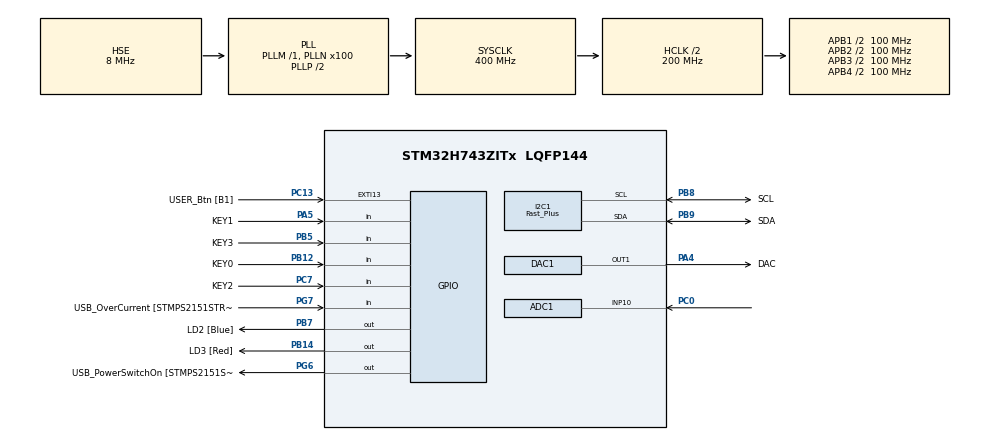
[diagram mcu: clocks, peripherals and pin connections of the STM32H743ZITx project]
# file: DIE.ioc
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ADC1.Channel-0\#ChannelRegularConversion=ADC_CHANNEL_10
ADC1.ClockPrescaler=ADC_CLOCK_ASYNC_DIV8
ADC1.ContinuousConvMode=ENABLE
ADC1.ConversionDataManagement=ADC_CONVERSIONDATA_DMA_CIRCULAR
ADC1.NbrOfConversionFlag=1
ADC1.OffsetNumber-0\#ChannelRegularConversion=ADC_OFFSET_NONE
ADC1.Overrun=ADC_OVR_DATA_OVERWRITTEN
ADC1.Rank-0\#ChannelRegularConversion=1
ADC1.SamplingTime-0\#ChannelRegularConversion=ADC_SAMPLETIME_1CYCLE_5
ADC1.master=1
DAC1.DAC_OutputBuffer-DAC_OUT1=DAC_OUTPUTBUFFER_DISABLE
DAC1.DAC_Trigger-DAC_OUT1=DAC_TRIGGER_T6_TRGO
Dma.ADC1.1.Direction=DMA_PERIPH_TO_MEMORY
Dma.ADC1.1.EventEnable=DISABLE
Dma.ADC1.1.FIFOMode=DMA_FIFOMODE_DISABLE
Dma.ADC1.1.Instance=DMA2_Stream0
Dma.ADC1.1.MemDataAlignment=DMA_MDATAALIGN_WORD
Dma.ADC1.1.MemInc=DMA_MINC_ENABLE
Dma.ADC1.1.Mode=DMA_CIRCULAR
Dma.ADC1.1.PeriphDataAlignment=DMA_PDATAALIGN_WORD
Dma.ADC1.1.PeriphInc=DMA_PINC_DISABLE
Dma.ADC1.1.Polarity=HAL_DMAMUX_REQ_GEN_RISING
Dma.ADC1.1.Priority=DMA_PRIORITY_HIGH
Dma.ADC1.1.RequestNumber=1
Dma.ADC1.1.SyncEnable=DISABLE
Dma.ADC1.1.SyncPolarity=HAL_DMAMUX_SYNC_NO_EVENT
Dma.ADC1.1.SyncRequestNumber=1
Dma.DAC1_CH1.0.Direction=DMA_MEMORY_TO_PERIPH
Dma.DAC1_CH1.0.EventEnable=DISABLE
Dma.DAC1_CH1.0.FIFOMode=DMA_FIFOMODE_DISABLE
Dma.DAC1_CH1.0.Instance=DMA1_Stream0
Dma.DAC1_CH1.0.MemDataAlignment=DMA_MDATAALIGN_WORD
Dma.DAC1_CH1.0.MemInc=DMA_MINC_ENABLE
Dma.DAC1_CH1.0.Mode=DMA_CIRCULAR
Dma.DAC1_CH1.0.PeriphDataAlignment=DMA_PDATAALIGN_WORD
Dma.DAC1_CH1.0.PeriphInc=DMA_PINC_DISABLE
Dma.DAC1_CH1.0.Polarity=HAL_DMAMUX_REQ_GEN_RISING
Dma.DAC1_CH1.0.Priority=DMA_PRIORITY_HIGH
Dma.DAC1_CH1.0.RequestNumber=1
Dma.DAC1_CH1.0.SyncEnable=DISABLE
Dma.DAC1_CH1.0.SyncPolarity=HAL_DMAMUX_SYNC_NO_EVENT
Dma.DAC1_CH1.0.SyncRequestNumber=1
Dma.Request0=DAC1_CH1
Dma.Request1=ADC1
I2C1.I2C_Fall_Time=1
I2C1.I2C_Rise_Time=1
I2C1.I2C_Speed_Mode=I2C_Fast_Plus
I2C1.Timing=0x00501242
Mcu.Family=STM32H7
Mcu.Name=STM32H743ZITx
Mcu.Package=LQFP144
NVIC.DMA1_Stream0_IRQn=true\:0\:0\:false\:false\:true\:false
NVIC.DMA2_Stream0_IRQn=true\:0\:0\:false\:false\:true\:false
NVIC.PriorityGroup=NVIC_PRIORITYGROUP_4
PA1.GPIO_Label=RMII_REF_CLK
PA1.Signal=ETH_REF_CLK
PA10.GPIO_Label=USB_ID
PA10.Signal=USB_OTG_FS_ID
PA11.GPIO_Label=USB_DM
PA11.Signal=USB_OTG_FS_DM
PA12.GPIO_Label=USB_DP
PA12.Signal=USB_OTG_FS_DP
PA13\ (JTMS/SWDIO).GPIO_Label=TMS
PA13\ (JTMS/SWDIO).Mode=Serial_Wire
PA13\ (JTMS/SWDIO).Signal=SYS_JTMS-SWDIO
PA14\ (JTCK/SWCLK).GPIO_Label=TCK
PA14\ (JTCK/SWCLK).Mode=Serial_Wire
PA14\ (JTCK/SWCLK).Signal=SYS_JTCK-SWCLK
PA2.GPIO_Label=RMII_MDIO
PA2.Signal=ETH_MDIO
PA4.GPIO_Label=DAC
PA4.Signal=COMP_DAC11_group
PA5.GPIO_Label=KEY1
PA5.GPIO_PuPd=GPIO_PULLUP
PA5.Signal=GPIO_Input
PA7.GPIO_Label=RMII_CRS_DV
PA7.Signal=ETH_CRS_DV
PA8.GPIO_Label=USB_SOF [TP1]
PA8.Signal=USB_OTG_FS_SOF
PA9.GPIO_Label=USB_VBUS
PA9.Signal=USB_OTG_FS_VBUS
PB12.GPIO_Label=KEY0
PB12.GPIO_PuPd=GPIO_PULLUP
PB12.Signal=GPIO_Input
PB13.GPIO_Label=RMII_TXD1
PB13.Signal=ETH_TXD1
PB14.GPIO_Label=LD3 [Red]
PB14.Signal=GPIO_Output
PB3\ (JTDO/TRACESWO).GPIO_Label=SWO
PB3\ (JTDO/TRACESWO).Signal=SYS_JTDO-SWO
PB5.GPIO_Label=KEY3
PB5.GPIO_PuPd=GPIO_PULLUP
PB5.Signal=GPIO_Input
PB7.GPIO_Label=LD2 [Blue]
PB7.Signal=GPIO_Output
PB8.GPIO_Label=SCL
PB8.GPIO_PuPd=GPIO_PULLUP
PB8.GPIO_Speed=GPIO_SPEED_FREQ_HIGH
PB8.Mode=I2C
PB8.Signal=I2C1_SCL
PB9.GPIO_Label=SDA
PB9.GPIO_PuPd=GPIO_PULLUP
PB9.GPIO_Speed=GPIO_SPEED_FREQ_HIGH
PB9.Mode=I2C
PB9.Signal=I2C1_SDA
PC0.Signal=ADCx_INP10
PC1.GPIO_Label=RMII_MDC
PC1.Signal=ETH_MDC
PC13.GPIO_Label=USER_Btn [B1]
PC13.Signal=GPXTI13
PC14-OSC32_IN\ (OSC32_IN).Mode=LSE-External-Oscillator
PC14-OSC32_IN\ (OSC32_IN).Signal=RCC_OSC32_IN
PC15-OSC32_OUT\ (OSC32_OUT).Mode=LSE-External-Oscillator
PC15-OSC32_OUT\ (OSC32_OUT).Signal=RCC_OSC32_OUT
PC4.GPIO_Label=RMII_RXD0
PC4.Signal=ETH_RXD0
PC5.GPIO_Label=RMII_RXD1
PC5.Signal=ETH_RXD1
PC7.GPIO_Label=KEY2
PC7.GPIO_PuPd=GPIO_PULLUP
PC7.Signal=GPIO_Input
PD8.GPIO_Label=STLK_RX [STM32F103CBT6_PA3]
PD8.Signal=USART3_TX
PD9.GPIO_Label=STLK_TX [STM32F103CBT6_PA2]
PD9.Signal=USART3_RX
PG11.GPIO_Label=RMII_TX_EN
PG11.Signal=ETH_TX_EN
PG13.GPIO_Label=RMII_TXD0
PG13.Signal=ETH_TXD0
PG6.GPIO_Label=USB_PowerSwitchOn [STMPS2151STR_EN]
PG6.Signal=GPIO_Output
PG7.GPIO_Label=USB_OverCurrent [STMPS2151STR_FAULT]
PG7.Signal=GPIO_Input
PH0-OSC_IN\ (PH0).GPIO_Label=MCO
PH0-OSC_IN\ (PH0).Mode=HSE-External-Oscillator
PH0-OSC_IN\ (PH0).Signal=RCC_OSC_IN
PH1-OSC_OUT\ (PH1).Mode=HSE-External-Oscillator
PH1-OSC_OUT\ (PH1).Signal=RCC_OSC_OUT
ProjectManager.HeapSize=0x200
ProjectManager.StackSize=0x400
ProjectManager.TargetToolchain=MDK-ARM V5
RCC.48MHZClocksFreq_Value=24000000
RCC.ADCFreq_Value=128000000
RCC.AHBFreq_Value=216000000
RCC.APB1CLKDivider=RCC_HCLK_DIV4
RCC.APB1Freq_Value=100000000
RCC.APB1TimFreq_Value=108000000
RCC.APB2CLKDivider=RCC_HCLK_DIV2
RCC.APB2Freq_Value=100000000
RCC.APB2TimFreq_Value=216000000
RCC.APB3Freq_Value=100000000
RCC.APB4Freq_Value=100000000
RCC.CortexFreq_Value=400000000
RCC.D1PPRE=RCC_APB3_DIV2
RCC.D2PPRE1=RCC_APB1_DIV2
RCC.D2PPRE2=RCC_APB2_DIV2
RCC.D3PPRE=RCC_APB4_DIV2
RCC.DIVM1=1
RCC.DIVM2=4
RCC.DIVM3=4
RCC.DIVN1=100
RCC.DIVN2=128
RCC.DIVN3=128
RCC.DIVQ1=4
RCC.HCLKFreq_Value=200000000
RCC.HPRE=RCC_HCLK_DIV2
RCC.HSE_VALUE=8000000
RCC.HSI_VALUE=64000000
RCC.PLLM=25
RCC.PLLMUL=RCC_PLL_MUL9
RCC.PLLN=432
RCC.PLLQ=9
RCC.PLLSourceVirtual=RCC_PLLSOURCE_HSE
RCC.PRESCALERUSB=RCC_USBCLKSOURCE_PLL_DIV1_5
RCC.SYSCLKFreq_VALUE=400000000
RCC.SYSCLKSource=RCC_SYSCLKSOURCE_PLLCLK
RCC.SYSCLKSourceVirtual=RCC_SYSCLKSOURCE_PLLCLK
RCC.USBFreq_Value=200000000
RCC.VCOOutputFreq_Value=432000000
SH.ADCx_INP10.0=ADC1_INP10,IN10-Single-Ended
SH.COMP_DAC11_group.0=DAC1_OUT1,DAC_OUT1
TIM6.Period=50-1
TIM6.Prescaler=5-1
TIM6.TIM_MasterOutputTrigger=TIM_TRGO_UPDATE
VP_TIM6_VS_ClockSourceINT.Mode=Enable_Timer
board=NUCLEO-H743ZI

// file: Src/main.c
/* USER CODE BEGIN Header */

/* USER CODE END Header */

#include "main.h"
#include "adc.h"
#include "dac.h"
#include "dma.h"
#include "i2c.h"
#include "tim.h"
#include "gpio.h"

/* USER CODE BEGIN Includes */
#include "menu.h"
#include "bmp.h"
/* USER CODE END Includes */

/* USER CODE BEGIN PV */
uint8_t kv = 0;
uint8_t menu_index = 0;

uint32_t ADC_Value[128];
extern uint32_t sineBuf[256];
extern uint32_t sineTable[256];
uint32_t curveBuffer[Curve_X];
/* USER CODE END PV */

void SystemClock_Config(void);

int main(void)
{

  /* MCU Configuration--------------------------------------------------------*/

  /* Reset of all peripherals, Initializes the Flash interface and the Systick. */
  HAL_Init();

  /* Configure the system clock */
  SystemClock_Config();

  /* Initialize all configured peripherals */
  MX_GPIO_Init();
  MX_DMA_Init();
  MX_I2C1_Init();
  MX_DAC1_Init();
  MX_ADC1_Init();
  MX_TIM6_Init();
  /* USER CODE BEGIN 2 */

	for (uint16_t i = 0; i < 256; i++)
	{
		sineBuf[i] = (uint32_t)(sineTable[i] * 0.845);
	}

	HAL_TIM_Base_Start(&htim6);
	HAL_ADC_Start_DMA(&hadc1, ADC_Value, 128);

	SSD1306_Init();

	SSD1306_Fill (0);
	SSD1306_UpdateScreen(); //display
	SSD1306_GotoXY(8, 5);
	SSD1306_Puts ("Hello xxxxt~", &Font_7x10, 1);
	SSD1306_GotoXY(8, 20);
	SSD1306_Puts ("Must be a", &Font_7x10, 1);
	SSD1306_GotoXY(8, 35);
	SSD1306_Puts ("Hard day there!", &Font_7x10, 1);
	SSD1306_ToggleInvert();
	//SSD1306_DrawBMP(0, 0, 0, 0, fas);
	SSD1306_UpdateScreen(); //display
	SSD1306_ToggleInvert();
	HAL_Delay(1000);

	flushKeyBuf();
	OS_Init();

  /* USER CODE END 2 */

  /* Infinite loop */
  /* USER CODE BEGIN WHILE */
  while (1)
  {

		OS_Trans();

		/*
		SSD1306_Fill (0);
		SSD1306_UpdateScreen(); //display
		SSD1306_GotoXY (10,12);
		SSD1306_Puts ("It's a Lonely", &Font_7x10, 1);
		SSD1306_GotoXY (10, 34);
		SSD1306_Puts ("Lonely Night.", &Font_7x10, 1);

		//SSD1306_DrawFilledRectangle(10, 60, 20, 10, 1);
		SSD1306_UpdateScreen();

		//HAL_Delay(1);

		*/
    /* USER CODE END WHILE */

  }
}

void SystemClock_Config(void)
{
  RCC_OscInitTypeDef RCC_OscInitStruct = {0};
  RCC_ClkInitTypeDef RCC_ClkInitStruct = {0};
  RCC_PeriphCLKInitTypeDef PeriphClkInitStruct = {0};

  /**Supply configuration update enable
  */
  MODIFY_REG(PWR->CR3, PWR_CR3_SCUEN, 0);
  /**Configure the main internal regulator output voltage
  */
  __HAL_PWR_VOLTAGESCALING_CONFIG(PWR_REGULATOR_VOLTAGE_SCALE1);

  while ((PWR->D3CR & (PWR_D3CR_VOSRDY)) != PWR_D3CR_VOSRDY)
  {

  }
  /**Macro to configure the PLL clock source
  */
  __HAL_RCC_PLL_PLLSOURCE_CONFIG(RCC_PLLSOURCE_HSE);
  /**Initializes the CPU, AHB and APB busses clocks
  */
  RCC_OscInitStruct.OscillatorType = RCC_OSCILLATORTYPE_HSE;
  RCC_OscInitStruct.HSEState = RCC_HSE_ON;
  RCC_OscInitStruct.PLL.PLLState = RCC_PLL_ON;
  RCC_OscInitStruct.PLL.PLLSource = RCC_PLLSOURCE_HSE;
  RCC_OscInitStruct.PLL.PLLM = 1;
  RCC_OscInitStruct.PLL.PLLN = 100;
  RCC_OscInitStruct.PLL.PLLP = 2;
  RCC_OscInitStruct.PLL.PLLQ = 4;
  RCC_OscInitStruct.PLL.PLLR = 2;
  RCC_OscInitStruct.PLL.PLLRGE = RCC_PLL1VCIRANGE_3;
  RCC_OscInitStruct.PLL.PLLVCOSEL = RCC_PLL1VCOWIDE;
  RCC_OscInitStruct.PLL.PLLFRACN = 0;
  if (HAL_RCC_OscConfig(&RCC_OscInitStruct) != HAL_OK)
  {
    Error_Handler();
  }
  /**Initializes the CPU, AHB and APB busses clocks
  */
  RCC_ClkInitStruct.ClockType = RCC_CLOCKTYPE_HCLK|RCC_CLOCKTYPE_SYSCLK
                              |RCC_CLOCKTYPE_PCLK1|RCC_CLOCKTYPE_PCLK2
                              |RCC_CLOCKTYPE_D3PCLK1|RCC_CLOCKTYPE_D1PCLK1;
  RCC_ClkInitStruct.SYSCLKSource = RCC_SYSCLKSOURCE_PLLCLK;
  RCC_ClkInitStruct.SYSCLKDivider = RCC_SYSCLK_DIV1;
  RCC_ClkInitStruct.AHBCLKDivider = RCC_HCLK_DIV2;
  RCC_ClkInitStruct.APB3CLKDivider = RCC_APB3_DIV2;
  RCC_ClkInitStruct.APB1CLKDivider = RCC_APB1_DIV2;
  RCC_ClkInitStruct.APB2CLKDivider = RCC_APB2_DIV2;
  RCC_ClkInitStruct.APB4CLKDivider = RCC_APB4_DIV2;

  if (HAL_RCC_ClockConfig(&RCC_ClkInitStruct, FLASH_LATENCY_2) != HAL_OK)
  {
    Error_Handler();
  }
  PeriphClkInitStruct.PeriphClockSelection = RCC_PERIPHCLK_ADC|RCC_PERIPHCLK_I2C1;
  PeriphClkInitStruct.PLL2.PLL2M = 4;
  PeriphClkInitStruct.PLL2.PLL2N = 128;
  PeriphClkInitStruct.PLL2.PLL2P = 2;
  PeriphClkInitStruct.PLL2.PLL2Q = 2;
  PeriphClkInitStruct.PLL2.PLL2R = 2;
  PeriphClkInitStruct.PLL2.PLL2RGE = RCC_PLL2VCIRANGE_1;
  PeriphClkInitStruct.PLL2.PLL2VCOSEL = RCC_PLL2VCOWIDE;
  PeriphClkInitStruct.PLL2.PLL2FRACN = 0;
  PeriphClkInitStruct.I2c123ClockSelection = RCC_I2C123CLKSOURCE_D2PCLK1;
  PeriphClkInitStruct.AdcClockSelection = RCC_ADCCLKSOURCE_PLL2;
  if (HAL_RCCEx_PeriphCLKConfig(&PeriphClkInitStruct) != HAL_OK)
  {
    Error_Handler();
  }
}

void Error_Handler(void)
{
}

/************************ (C) COPYRIGHT STMicroelectronics *****END OF FILE****/
